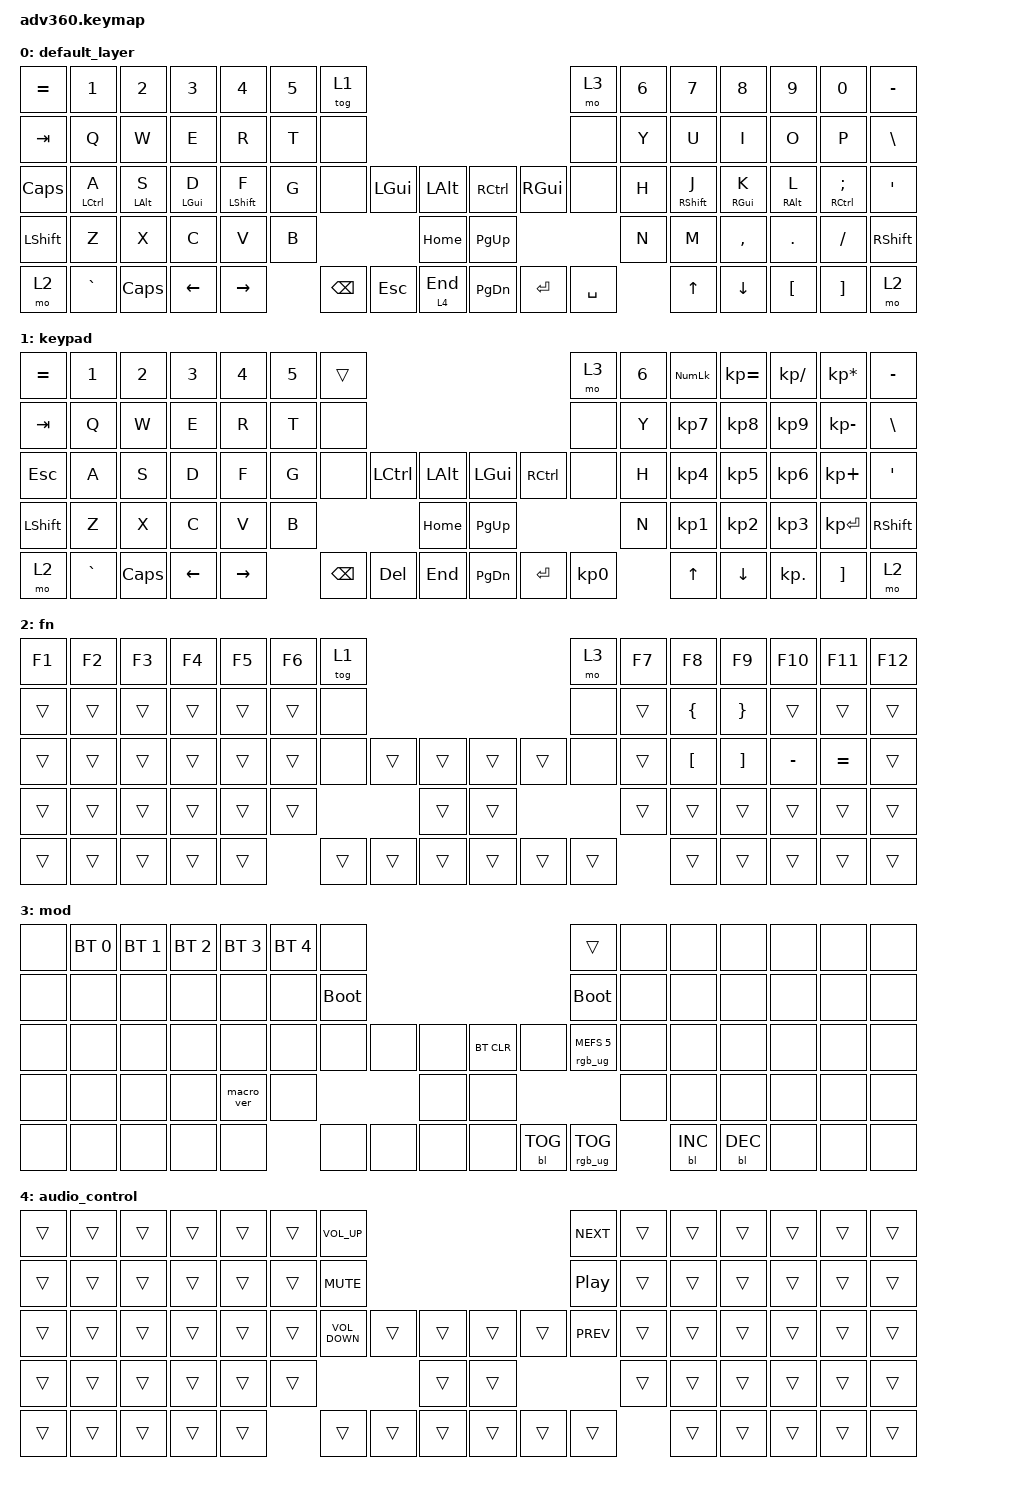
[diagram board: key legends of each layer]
#include <behaviors.dtsi>
#include <dt-bindings/zmk/backlight.h>
#include <dt-bindings/zmk/bt.h>
#include <dt-bindings/zmk/keys.h>
#include <dt-bindings/zmk/rgb.h>

/ {
    behaviors {
        #include "macros.dtsi"
      #include "version.dtsi"
      #ifndef VERSION_MACRO

        macro_ver: macro_ver {
            compatible = "zmk,behavior-macro";
            label = "macro_version";
            #binding-cells = <0>;
            bindings = <&kp RET>;
        };

        #endif

        hm: homerow_mods {
            compatible = "zmk,behavior-hold-tap";
            label = "HOMEROW_MODS";
            #binding-cells = <2>;
            tapping-term-ms = <280>;
            quick_tap_ms = <175>;
            flavor = "balanced";
            bindings = <&kp>, <&kp>;
        };
    };

    macros {
    };

    keymap {
        compatible = "zmk,keymap";

        default_layer {
            bindings = <
&kp EQUAL     &kp N1       &kp N2      &kp N3      &kp N4       &kp N5  &tog 1                                                     &mo 3      &kp N6  &kp N7       &kp N8      &kp N9      &kp N0          &kp MINUS
&kp TAB       &kp Q        &kp W       &kp E       &kp R        &kp T   &none                                                      &none      &kp Y   &kp U        &kp I       &kp O       &kp P           &kp BSLH
&kp CAPSLOCK  &hm LCTRL A  &hm LALT S  &hm LGUI D  &hm LSHFT F  &kp G   &none     &kp LGUI    &kp LALT       &kp RCTRL  &kp RGUI   &none      &kp H   &hm RSHFT J  &hm RGUI K  &hm RALT L  &hm RCTRL SEMI  &kp SQT
&kp LSHFT     &kp Z        &kp X       &kp C       &kp V        &kp B                         &kp HOME       &kp PG_UP                        &kp N   &kp M        &kp COMMA   &kp DOT     &kp FSLH        &kp RSHFT
&mo 2         &kp GRAVE    &kp CAPS    &kp LEFT    &kp RIGHT            &kp BSPC  &kp ESCAPE  &lt 4 END      &kp PG_DN  &kp ENTER  &kp SPACE          &kp UP       &kp DOWN    &kp LBKT    &kp RBKT        &mo 2
            >;
        };

        keypad {
            bindings = <
&kp EQUAL  &kp N1     &kp N2    &kp N3    &kp N4     &kp N5  &trans                                                   &mo 3      &kp N6  &kp KP_NUM  &kp KP_EQUAL  &kp KP_DIVIDE  &kp KP_MULTIPLY  &kp MINUS
&kp TAB    &kp Q      &kp W     &kp E     &kp R      &kp T   &none                                                    &none      &kp Y   &kp KP_N7   &kp KP_N8     &kp KP_N9      &kp KP_MINUS     &kp BSLH
&kp ESC    &kp A      &kp S     &kp D     &kp F      &kp G   &none     &kp LCTRL  &kp LALT      &kp LGUI   &kp RCTRL  &none      &kp H   &kp KP_N4   &kp KP_N5     &kp KP_N6      &kp KP_PLUS      &kp SQT
&kp LSHFT  &kp Z      &kp X     &kp C     &kp V      &kp B                        &kp HOME      &kp PG_UP                        &kp N   &kp KP_N1   &kp KP_N2     &kp KP_N3      &kp KP_ENTER     &kp RSHFT
&mo 2      &kp GRAVE  &kp CAPS  &kp LEFT  &kp RIGHT          &kp BSPC  &kp DEL    &kp END       &kp PG_DN  &kp ENTER  &kp KP_N0          &kp UP      &kp DOWN      &kp KP_DOT     &kp RBKT         &mo 2
            >;
        };

        fn {
            bindings = <
&kp F1  &kp F2  &kp F3  &kp F4  &kp F5  &kp F6  &tog 1                                      &mo 3   &kp F7  &kp F8            &kp F9             &kp F10    &kp F11    &kp F12
&trans  &trans  &trans  &trans  &trans  &trans  &none                                       &none   &trans  &kp LEFT_BRACE    &kp RIGHT_BRACE    &trans     &trans     &trans
&trans  &trans  &trans  &trans  &trans  &trans  &none   &trans  &trans      &trans  &trans  &none   &trans  &kp LEFT_BRACKET  &kp RIGHT_BRACKET  &kp MINUS  &kp EQUAL  &trans
&trans  &trans  &trans  &trans  &trans  &trans                  &trans      &trans                  &trans  &trans            &trans             &trans     &trans     &trans
&trans  &trans  &trans  &trans  &trans          &trans  &trans  &trans      &trans  &trans  &trans          &trans            &trans             &trans     &trans     &trans
            >;
        };

        mod {
            bindings = <
&none  &bt BT_SEL 0  &bt BT_SEL 1  &bt BT_SEL 2  &bt BT_SEL 3  &bt BT_SEL 4  &none                                                  &trans                  &none  &none       &none       &none  &none  &none
&none  &none         &none         &none         &none         &none         &bootloader                                            &bootloader             &none  &none       &none       &none  &none  &none
&none  &none         &none         &none         &none         &none         &none        &none  &none      &bt BT_CLR  &none       &rgb_ug RGB_MEFS_CMD 5  &none  &none       &none       &none  &none  &none
&none  &none         &none         &none         &macro_ver    &none                             &none      &none                                           &none  &none       &none       &none  &none  &none
&none  &none         &none         &none         &none                       &none        &none  &none      &none       &bl BL_TOG  &rgb_ug RGB_TOG                &bl BL_INC  &bl BL_DEC  &none  &none  &none
            >;
        };

        audio_control {
            bindings = <
&trans  &trans  &trans  &trans  &trans  &trans  &kp C_VOLUME_UP                                        &kp C_NEXT        &trans  &trans  &trans  &trans  &trans  &trans
&trans  &trans  &trans  &trans  &trans  &trans  &kp C_MUTE                                             &kp C_PLAY_PAUSE  &trans  &trans  &trans  &trans  &trans  &trans
&trans  &trans  &trans  &trans  &trans  &trans  &kp C_VOLUME_DOWN  &trans  &trans      &trans  &trans  &kp K_PREV        &trans  &trans  &trans  &trans  &trans  &trans
&trans  &trans  &trans  &trans  &trans  &trans                             &trans      &trans                            &trans  &trans  &trans  &trans  &trans  &trans
&trans  &trans  &trans  &trans  &trans          &trans             &trans  &trans      &trans  &trans  &trans                    &trans  &trans  &trans  &trans  &trans
            >;
        };
    };
};
